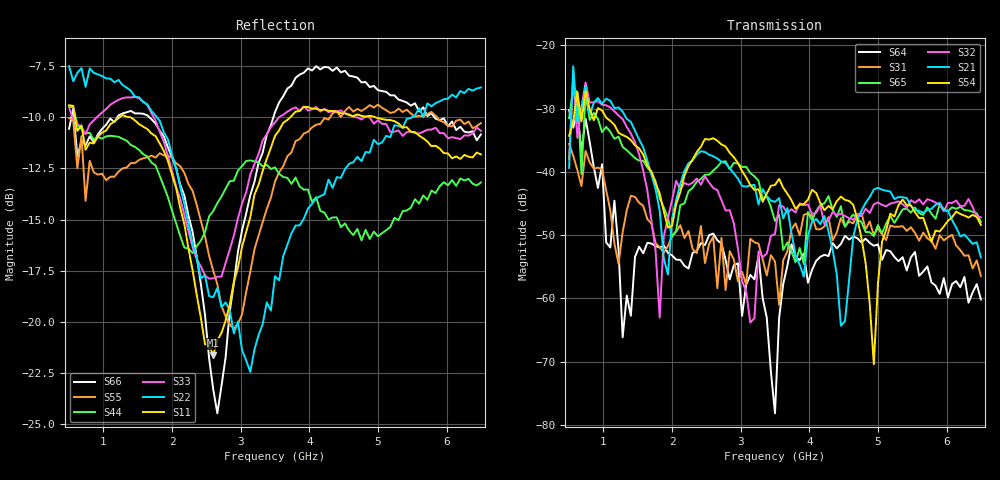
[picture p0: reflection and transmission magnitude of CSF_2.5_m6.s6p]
!Keysight Technologies,M9804A,MY58100912,A.14.10.03
!Date: Thursday, April 27, 2023 10:28:33
!Correction: S11(C  6-Port  )
!S12(C  6-Port  )
!S13(C  6-Port  )
!S14(C  6-Port  )
!S15(C  6-Port  )
!S16(C  6-Port  )
!S21(C  6-Port  )
!S22(C  6-Port  )
!S23(C  6-Port  )
!S24(C  6-Port  )
!S25(C  6-Port  )
!S26(C  6-Port  )
!S31(C  6-Port  )
!S32(C  6-Port  )
!S33(C  6-Port  )
!S34(C  6-Port  )
!S35(C  6-Port  )
!S36(C  6-Port  )
!S41(C  6-Port  )
!S42(C  6-Port  )
!S43(C  6-Port  )
!S44(C  6-Port  )
!S45(C  6-Port  )
!S46(C  6-Port  )
!S51(C  6-Port  )
!S52(C  6-Port  )
!S53(C  6-Port  )
!S54(C  6-Port  )
!S55(C  6-Port  )
!S56(C  6-Port  )
!S61(C  6-Port  )
!S62(C  6-Port  )
!S63(C  6-Port  )
!S64(C  6-Port  )
!S65(C  6-Port  )
!S66(C  6-Port  )
!S6P File: Measurement: :
# Hz S  RI  R 50
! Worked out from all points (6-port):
!   101 points, 500 MHz to 6.5 GHz, reference 50 ohm
!   strongest paths, dB at 500 MHz, 2 GHz, 3.5 GHz, 5 GHz, 6.5 GHz:
!     S54: -34.3, -48.5, -42.1, -57.7, -48.4
!     S21: -39.4, -47.4, -44.8, -42.5, -53.5
!     S32: -38.0, -44.5, -49.8, -44.8, -47.2
!     S65: -31.5, -50.3, -47.8, -48.4, -47.9
!     S31: -35.6, -50.1, -54.2, -48.9, -56.4
!     S64: -30.3, -53.2, -78.2, -51.5, -60.2
!   lowest |S11| = -21.7 dB at 2.6 GHz (marker M1), VSWR 1.18, Z = 42.6 + j2.05 ohm
!   |S11| at or under -10 dB: 587.7 MHz to 1.233 GHz (645.1 MHz wide, 70.9 % of centre); 1.402 GHz to 3.719 GHz (2.317 GHz wide, 90.5 % of centre); 4.971 GHz to end of sweep
